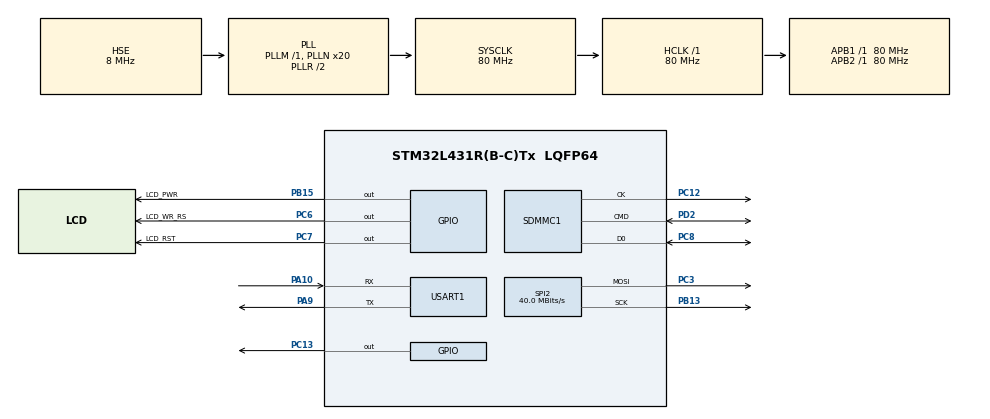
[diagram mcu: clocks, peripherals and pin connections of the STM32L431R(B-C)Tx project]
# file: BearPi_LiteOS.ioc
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Dma.Request0=SPI2_TX
Dma.SPI2_TX.0.Direction=DMA_MEMORY_TO_PERIPH
Dma.SPI2_TX.0.Instance=DMA1_Channel5
Dma.SPI2_TX.0.MemDataAlignment=DMA_MDATAALIGN_BYTE
Dma.SPI2_TX.0.MemInc=DMA_MINC_ENABLE
Dma.SPI2_TX.0.Mode=DMA_NORMAL
Dma.SPI2_TX.0.PeriphDataAlignment=DMA_PDATAALIGN_BYTE
Dma.SPI2_TX.0.PeriphInc=DMA_PINC_DISABLE
Dma.SPI2_TX.0.Priority=DMA_PRIORITY_LOW
Mcu.Family=STM32L4
Mcu.Name=STM32L431R(B-C)Tx
Mcu.Package=LQFP64
NVIC.DMA1_Channel5_IRQn=true\:0\:0\:false\:false\:true\:false\:true
NVIC.PriorityGroup=NVIC_PRIORITYGROUP_4
NVIC.SDMMC1_IRQn=true\:0\:0\:false\:false\:true\:true\:true
NVIC.SPI2_IRQn=true\:0\:0\:false\:false\:true\:true\:true
NVIC.TIM1_UP_TIM16_IRQn=true\:0\:0\:false\:false\:true\:false\:true
NVIC.TimeBase=TIM1_UP_TIM16_IRQn
NVIC.TimeBaseIP=TIM1
NVIC.USART1_IRQn=true\:0\:0\:false\:false\:true\:true\:true
PA10.Mode=Asynchronous
PA10.Signal=USART1_RX
PA13\ (JTMS-SWDIO).Mode=Serial_Wire
PA13\ (JTMS-SWDIO).Signal=SYS_JTMS-SWDIO
PA14\ (JTCK-SWCLK).Mode=Serial_Wire
PA14\ (JTCK-SWCLK).Signal=SYS_JTCK-SWCLK
PA9.Mode=Asynchronous
PA9.Signal=USART1_TX
PB13.Mode=TX_Only_Simplex_Unidirect_Master
PB13.Signal=SPI2_SCK
PB15.GPIO_Label=LCD_PWR
PB15.GPIO_Speed=GPIO_SPEED_FREQ_VERY_HIGH
PB15.Signal=GPIO_Output
PC12.Mode=SD_1_bit
PC12.Signal=SDMMC1_CK
PC13.PinState=GPIO_PIN_SET
PC13.Signal=GPIO_Output
PC3.Mode=TX_Only_Simplex_Unidirect_Master
PC3.Signal=SPI2_MOSI
PC6.GPIO_Label=LCD_WR_RS
PC6.GPIO_Speed=GPIO_SPEED_FREQ_VERY_HIGH
PC6.Signal=GPIO_Output
PC7.GPIO_Label=LCD_RST
PC7.GPIO_Speed=GPIO_SPEED_FREQ_VERY_HIGH
PC7.Signal=GPIO_Output
PC8.Mode=SD_1_bit
PC8.Signal=SDMMC1_D0
PD2.Mode=SD_1_bit
PD2.Signal=SDMMC1_CMD
PH0-OSC_IN\ (PH0).Mode=HSE-External-Oscillator
PH0-OSC_IN\ (PH0).Signal=RCC_OSC_IN
PH1-OSC_OUT\ (PH1).Mode=HSE-External-Oscillator
PH1-OSC_OUT\ (PH1).Signal=RCC_OSC_OUT
ProjectManager.HeapSize=0x400
ProjectManager.StackSize=0x1000
ProjectManager.TargetToolchain=MDK-ARM V5.27
RCC.ADCFreq_Value=32000000
RCC.AHBFreq_Value=80000000
RCC.APB1Freq_Value=80000000
RCC.APB1TimFreq_Value=80000000
RCC.APB2Freq_Value=80000000
RCC.APB2TimFreq_Value=80000000
RCC.CortexFreq_Value=80000000
RCC.HCLKFreq_Value=80000000
RCC.HSE_VALUE=8000000
RCC.HSI48_VALUE=48000000
RCC.HSI_VALUE=16000000
RCC.LSE_VALUE=32768
RCC.MSI_VALUE=4000000
RCC.PLLN=20
RCC.PLLSourceVirtual=RCC_PLLSOURCE_HSE
RCC.SYSCLKFreq_VALUE=80000000
RCC.SYSCLKSource=RCC_SYSCLKSOURCE_PLLCLK
RCC.VCOOutputFreq_Value=160000000
SPI2.CLKPhase=SPI_PHASE_2EDGE
SPI2.CLKPolarity=SPI_POLARITY_HIGH
SPI2.CalculateBaudRate=40.0 MBits/s
SPI2.DataSize=SPI_DATASIZE_8BIT
SPI2.Direction=SPI_DIRECTION_2LINES
SPI2.Mode=SPI_MODE_MASTER
SPI2.VirtualType=VM_MASTER
USART1.VirtualMode-Asynchronous=VM_ASYNC
VP_FATFS_VS_SDIO.Mode=SDIO
VP_SYS_VS_tim1.Mode=TIM1
board=custom

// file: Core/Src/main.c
/* USER CODE BEGIN Header */
/**
  ******************************************************************************
  * @file           : main.c
  * @brief          : Main program body
  ******************************************************************************
  * @attention
  *
  * <h2><center>&copy; Copyright (c) 2022 STMicroelectronics.
  * All rights reserved.</center></h2>
  *
  * This software component is licensed by ST under BSD 3-Clause license,
  * the "License"; You may not use this file except in compliance with the
  * License. You may obtain a copy of the License at:
  *                        opensource.org/licenses/BSD-3-Clause
  *
  ******************************************************************************
  */
/* USER CODE END Header */
#include "main.h"
#include "dma.h"
#include "fatfs.h"
#include "sdmmc.h"
#include "spi.h"
#include "usart.h"
#include "gpio.h"

/* USER CODE BEGIN Includes */
#include "cmsis_os.h"
#include "lcd.h"
#include "lv_port_disp.h"
#include "lv_port_fs.h"
/* USER CODE END Includes */

/* USER CODE BEGIN PTD */
/* Private variables ---------------------------------------------------------*/

/* USER CODE BEGIN PV */
FATFS   fs;			/* FATFS 文件系统对象 */
FRESULT fr; 		/* FATFS API 返回值 */
/* USER CODE END PV */

/* USER CODE END PTD */

void SystemClock_Config(void);

/* USER CODE BEGIN 0 */
osSemaphoreId_t DMA_SemaphoreHandle;
const osSemaphoreAttr_t DMA_Semaphore_attributes = {
  .name = "DMA_Semaphore"
};

osThreadId_t led_taskHandle;
const osThreadAttr_t led_task_attributes = {
  .name = "led_task",
  .stack_size = 512 * 1,
  .priority = (osPriority_t) osPriorityNormal,
};

osThreadId_t lcd_taskHandle;
const osThreadAttr_t lcd_task_attributes = {
  .name = "lcd_task",
  .stack_size = 512 * 4,
  .priority = (osPriority_t) osPriorityNormal1,
};

void Led_Task(void *argument);
void Lcd_Task(void *argument);

void Led_Task(void *argument)
{
	while(1)
	{
		HAL_GPIO_TogglePin(GPIOC,GPIO_PIN_13);
		osDelay(1000);
	}
}

lv_img_dsc_t testimg1 = {
	.header.always_zero = 0,
	.header.w = 150,
	.header.h = 60,
	.data_size = 150 * 60 * 2,
	.header.cf = LV_IMG_CF_TRUE_COLOR,
};

void Lcd_Task(void *argument)
{
	lv_fs_res_t fs_res=LV_FS_RES_NOT_IMP;
	lv_fs_file_t lv_file;
	int offset;
	LCD_Init();
	lv_init();
	lv_port_disp_init();//lvgl 显示接口初始化,放在 lv_init()的后面
	lv_port_fs_init();

	lv_style_t style1;
	lv_style_init(&style1);
	lv_style_set_bg_color(&style1, LV_STATE_DEFAULT,LV_COLOR_BLACK);
	lv_style_set_border_width(&style1,LV_STATE_DEFAULT, 0);
	lv_style_set_radius(&style1,LV_STATE_DEFAULT,0);

	lv_obj_t* bkg = lv_obj_create(lv_scr_act(),NULL);
	lv_obj_set_pos(bkg,0,0);
	lv_obj_set_size(bkg,240,240);
	lv_obj_add_style(bkg,LV_OBJ_PART_MAIN,&style1);

	lv_obj_t* homonoryimg = lv_img_create(lv_scr_act(), NULL);

	while(1)
	{

		uint8_t* framebuffer1 = (uint8_t*)lv_mem_alloc(sizeof(uint8_t)*18000);
		fs_res = lv_fs_open(&lv_file, "S:/os.bin", LV_FS_MODE_RD| LV_FS_MODE_WR);
		if ( fs_res != LV_FS_RES_OK )
			printf( "LVGL FS open error. (%d)\r\n", fs_res );
		offset = 0;
		offset += 4; //从offset=4
		lv_fs_seek(&lv_file, offset);

		//计算bin文件里一共包含多少张图片，然后不断的给tft进行显示
		for(int i = 0 ; i < 401 ; i++)
		{
			fs_res = lv_fs_read(&lv_file, (uint8_t *)framebuffer1, 18000,NULL);
			testimg1.data = (const uint8_t *)framebuffer1;
			lv_img_set_src(homonoryimg, &testimg1);
			lv_obj_align(homonoryimg, NULL, LV_ALIGN_CENTER, 0, 0);

			lv_task_handler();
			offset += 18004;
			fs_res = lv_fs_seek(&lv_file, offset);
			osDelay(20);
		}
		lv_mem_free(framebuffer1);
		framebuffer1 = NULL;
		lv_fs_close(&lv_file);
		osDelay(1000);
	}

}
/* USER CODE END 0 */

int main(void)
{

  /* MCU Configuration--------------------------------------------------------*/

  /* Reset of all peripherals, Initializes the Flash interface and the Systick. */
  HAL_Init();

  /* Configure the system clock */
  SystemClock_Config();

  /* Initialize all configured peripherals */
  MX_GPIO_Init();
  MX_DMA_Init();
  MX_SPI2_Init();
  MX_USART1_UART_Init();
  MX_SDMMC1_SD_Init();
  MX_FATFS_Init();
  /* USER CODE BEGIN 2 */
	osKernelInitialize();
  /* creation of uart_task */
	DMA_SemaphoreHandle = osSemaphoreNew(1, 1, &DMA_Semaphore_attributes);
  led_taskHandle = osThreadNew(Led_Task, NULL, &led_task_attributes);
	lcd_taskHandle = osThreadNew(Lcd_Task, NULL, &lcd_task_attributes);
	osKernelStart();
  /* USER CODE END 2 */

  /* Infinite loop */
  while (1)
  {

  }
}

void SystemClock_Config(void)
{
  RCC_OscInitTypeDef RCC_OscInitStruct = {0};
  RCC_ClkInitTypeDef RCC_ClkInitStruct = {0};
  RCC_PeriphCLKInitTypeDef PeriphClkInit = {0};

  /** Initializes the RCC Oscillators according to the specified parameters
  * in the RCC_OscInitTypeDef structure.
  */
  RCC_OscInitStruct.OscillatorType = RCC_OSCILLATORTYPE_HSE;
  RCC_OscInitStruct.HSEState = RCC_HSE_ON;
  RCC_OscInitStruct.PLL.PLLState = RCC_PLL_ON;
  RCC_OscInitStruct.PLL.PLLSource = RCC_PLLSOURCE_HSE;
  RCC_OscInitStruct.PLL.PLLM = 1;
  RCC_OscInitStruct.PLL.PLLN = 20;
  RCC_OscInitStruct.PLL.PLLP = RCC_PLLP_DIV7;
  RCC_OscInitStruct.PLL.PLLQ = RCC_PLLQ_DIV2;
  RCC_OscInitStruct.PLL.PLLR = RCC_PLLR_DIV2;
  if (HAL_RCC_OscConfig(&RCC_OscInitStruct) != HAL_OK)
  {
    Error_Handler();
  }
  /** Initializes the CPU, AHB and APB buses clocks
  */
  RCC_ClkInitStruct.ClockType = RCC_CLOCKTYPE_HCLK|RCC_CLOCKTYPE_SYSCLK
                              |RCC_CLOCKTYPE_PCLK1|RCC_CLOCKTYPE_PCLK2;
  RCC_ClkInitStruct.SYSCLKSource = RCC_SYSCLKSOURCE_PLLCLK;
  RCC_ClkInitStruct.AHBCLKDivider = RCC_SYSCLK_DIV1;
  RCC_ClkInitStruct.APB1CLKDivider = RCC_HCLK_DIV1;
  RCC_ClkInitStruct.APB2CLKDivider = RCC_HCLK_DIV1;

  if (HAL_RCC_ClockConfig(&RCC_ClkInitStruct, FLASH_LATENCY_4) != HAL_OK)
  {
    Error_Handler();
  }
  PeriphClkInit.PeriphClockSelection = RCC_PERIPHCLK_USART1|RCC_PERIPHCLK_SDMMC1;
  PeriphClkInit.Usart1ClockSelection = RCC_USART1CLKSOURCE_PCLK2;
  PeriphClkInit.Sdmmc1ClockSelection = RCC_SDMMC1CLKSOURCE_PLLSAI1;
  PeriphClkInit.PLLSAI1.PLLSAI1Source = RCC_PLLSOURCE_HSE;
  PeriphClkInit.PLLSAI1.PLLSAI1M = 1;
  PeriphClkInit.PLLSAI1.PLLSAI1N = 8;
  PeriphClkInit.PLLSAI1.PLLSAI1P = RCC_PLLP_DIV7;
  PeriphClkInit.PLLSAI1.PLLSAI1Q = RCC_PLLQ_DIV2;
  PeriphClkInit.PLLSAI1.PLLSAI1R = RCC_PLLR_DIV2;
  PeriphClkInit.PLLSAI1.PLLSAI1ClockOut = RCC_PLLSAI1_48M2CLK;
  if (HAL_RCCEx_PeriphCLKConfig(&PeriphClkInit) != HAL_OK)
  {
    Error_Handler();
  }
  /** Configure the main internal regulator output voltage
  */
  if (HAL_PWREx_ControlVoltageScaling(PWR_REGULATOR_VOLTAGE_SCALE1) != HAL_OK)
  {
    Error_Handler();
  }
}

 /**
  * @brief  Period elapsed callback in non blocking mode
  * @note   This function is called  when TIM1 interrupt took place, inside
  * HAL_TIM_IRQHandler(). It makes a direct call to HAL_IncTick() to increment
  * a global variable "uwTick" used as application time base.
  * @param  htim : TIM handle
  * @retval None
  */
void HAL_TIM_PeriodElapsedCallback(TIM_HandleTypeDef *htim)
{
  if (htim->Instance == TIM1) {
    HAL_IncTick();
  }
}

void Error_Handler(void)
{
  __disable_irq();
  while (1)
  {
  }
}

/************************ (C) COPYRIGHT STMicroelectronics *****END OF FILE****/
